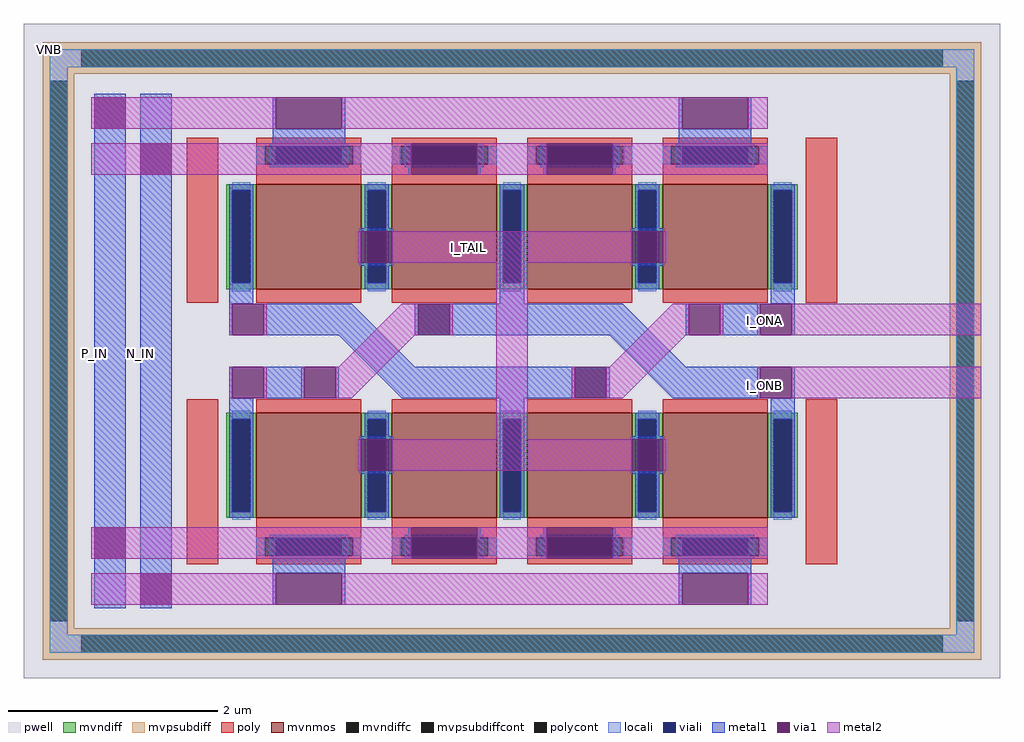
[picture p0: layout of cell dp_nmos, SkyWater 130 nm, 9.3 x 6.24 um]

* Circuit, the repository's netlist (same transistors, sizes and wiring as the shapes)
** sch_path: /home/yohanes/10-bit-DAC/xschem/diff_pair.sch
.subckt dp_nmos P_IN N_IN I_ONA I_ONB I_TAIL VNB
*.PININFO I_OPA:O I_OPB:O P_IN:I N_IN:I I_ONA:O I_ONB:O I_HEAD:I I_TAIL:I VPB:I VNB:I
XM3 I_ONA P_IN I_TAIL VNB sky130_fd_pr__nfet_g5v0d10v5 L=1 W=1 nf=1 m=4
XM4 I_ONB N_IN I_TAIL VNB sky130_fd_pr__nfet_g5v0d10v5 L=1 W=1 nf=1 m=4
.ends

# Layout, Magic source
magic
tech sky130A
magscale 1 2
<< pwell >>
rect -35 -713 1825 535
<< mvpsubdiffcont >>
rect 74 452 1716 486
rect 14 -604 48 426
rect 1742 -604 1776 426
rect 74 -664 1716 -630
<< metal1 >>
rect 356 1 402 29
rect 872 1 918 29
rect 1388 1 1434 29
rect 356 -59 362 1
rect 422 -59 493 1
rect 710 -59 1106 1
rect 1298 -59 1368 1
rect 1428 -59 1434 1
rect 356 -179 362 -119
rect 422 -179 493 -119
rect 685 -179 1081 -119
rect 1298 -179 1368 -119
rect 1428 -179 1434 -119
rect 356 -207 402 -179
rect 872 -207 918 -179
rect 1388 -207 1434 -179
<< via1 >>
rect 99 335 159 395
rect 187 247 247 307
rect 362 -59 422 1
rect 1368 -59 1428 1
rect 362 -179 422 -119
rect 1368 -179 1428 -119
rect 99 -485 159 -425
rect 187 -573 247 -513
<< metal2 >>
rect 356 -59 362 1
rect 422 -59 428 1
rect 356 -179 362 -119
rect 422 -179 428 -119
rect 865 -317 925 139
rect 1362 -59 1368 1
rect 1428 -59 1789 1
rect 1362 -179 1368 -119
rect 1428 -179 1789 -119
use cross_pair  cross_pair_0
transform 1 0 -35621 0 1 -2034
box 36114 1855 36403 2035
use cross_pair  cross_pair_1
transform 1 0 -35105 0 1 -2034
box 36114 1855 36403 2035
use dp_nmos_4  dp_nmos_4_0
transform 1 0 490 0 1 -458
box -489 369 1299 957
use dp_nmos_4  dp_nmos_4_1
transform 1 0 490 0 -1 280
box -489 369 1299 957
<< labels >>
flabel space 99 -94 99 -94 4 FreeSans 320 90 0 0 P_IN
port 0 se
flabel space 187 -94 187 -94 4 FreeSans 320 90 0 0 N_IN
port 1 se
flabel via1 1377 -31 1377 -31 3 FreeSans 320 0 0 0 I_ONA
port 2 e
flabel via1 1377 -155 1377 -155 3 FreeSans 320 0 0 0 I_ONB
port 3 e
flabel space 812 108 812 108 3 FreeSans 320 0 0 0 I_TAIL
port 4 e
flabel space 14 486 14 486 4 FreeSans 320 0 0 0 VNB
port 5 se
<< end >>

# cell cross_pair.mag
magic
tech sky130A
magscale 1 2
<< metal1 >>
rect 36114 1975 36211 2035
tri 36211 1975 36271 2035 sw
rect 36331 1975 36337 2035
rect 36397 1975 36403 2035
rect 36114 1855 36120 1915
rect 36180 1855 36186 1915
tri 36186 1890 36271 1975 ne
tri 36271 1915 36331 1975 sw
rect 36271 1890 36403 1915
tri 36271 1855 36306 1890 ne
rect 36306 1855 36403 1890
<< via1 >>
rect 36337 1975 36397 2035
rect 36120 1855 36180 1915
<< metal2 >>
tri 36271 2000 36306 2035 se
rect 36306 2000 36337 2035
tri 36186 1915 36271 2000 se
rect 36271 1975 36337 2000
rect 36397 1975 36403 2035
tri 36271 1915 36331 1975 nw
rect 36114 1855 36120 1915
rect 36180 1855 36211 1915
tri 36211 1855 36271 1915 nw
<< end >>

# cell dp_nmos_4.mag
magic
tech sky130A
magscale 1 2
<< mvpsubdiff >>
rect -489 897 1299 957
rect -489 369 -429 897
rect 1239 369 1299 897
<< poly >>
rect -215 461 -155 775
rect 965 461 1025 775
<< locali >>
rect -476 910 1286 944
rect -476 369 -442 910
rect 1252 369 1286 910
<< metal1 >>
rect -391 369 -331 859
rect -303 369 -243 859
rect -51 793 -45 853
rect 81 793 87 853
rect -51 765 87 793
rect 723 793 729 853
rect 855 793 861 853
rect 207 705 213 765
rect 339 705 345 765
rect 465 705 471 765
rect 597 705 603 765
rect 723 760 861 793
rect 117 597 177 603
rect 117 531 177 537
rect 633 597 693 603
rect 633 531 693 537
<< via1 >>
rect -45 793 81 853
rect 729 793 855 853
rect 213 705 339 765
rect 471 705 597 765
rect 117 537 177 597
rect 633 537 693 597
<< metal2 >>
rect -397 793 -45 853
rect 81 793 729 853
rect 855 793 892 853
rect -397 705 213 765
rect 339 705 471 765
rect 597 705 892 765
rect 111 537 117 597
rect 177 537 633 597
rect 693 537 699 597
use sky130_fd_pr__nfet_g5v0d10v5_DJNVTV  sky130_fd_pr__nfet_g5v0d10v5_DJNVTV_0
transform 1 0 405 0 1 618
box -545 -157 545 157
<< end >>

# cell sky130_fd_pr__nfet_g5v0d10v5_DJNVTV: kit device sky130_fd_pr__nfet_g5v0d10v5, w 1 l 1 m 1 nf 4 diffcov 100 polycov 100 guard 0 glc 1 grc 1 gtc 1 gbc 1 tbcov 100 rlcov 100 topc 1 botc 0 poverlap 0 doverlap 1 lmin 0.50 wmin 0.42 compatible {sky130_fd_pr__nfet_01v8 sky130_fd_pr__nfet_01v8_lvt sky130_fd_bs_flash__special_sonosfet_star sky130_fd_pr__nfet_g5v0d10v5 sky130_fd_pr__nfet_05v0_nvt sky130_fd_pr__nfet_03v3_nvt} full_metal 1 viasrc 100 viadrn 100 viagate 75 viagb 0 viagr 0 viagl 0 viagt 0
